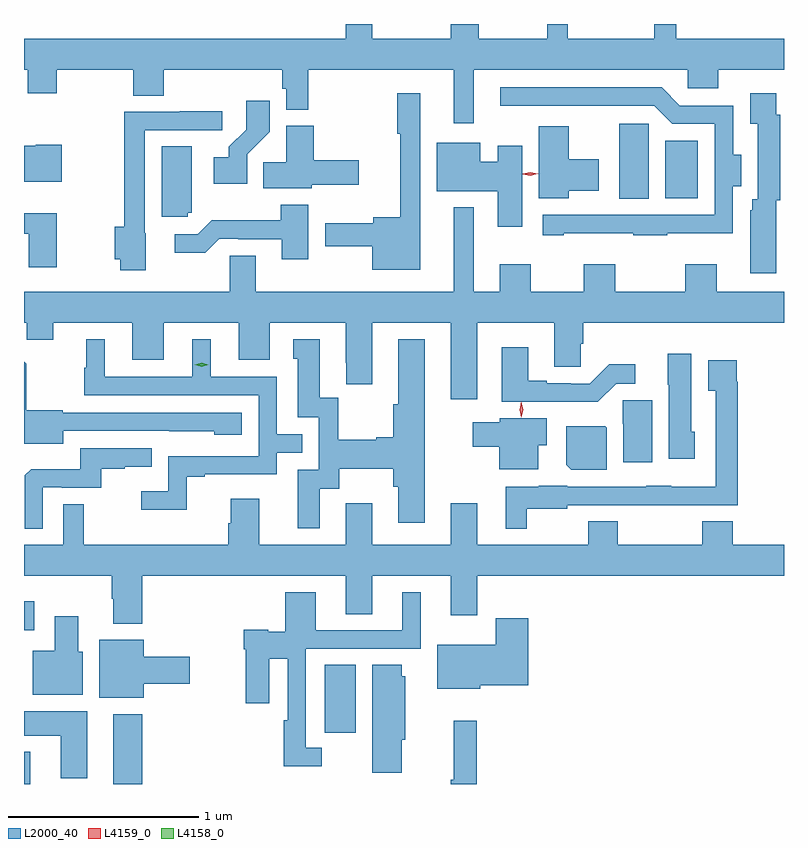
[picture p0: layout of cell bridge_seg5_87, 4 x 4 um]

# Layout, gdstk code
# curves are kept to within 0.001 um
import gdstk
lib = gdstk.Library(unit=1e-6, precision=1e-09)
def R(c, l, rs):  # rectangles x0, y0, x1, y1
    for r in rs: c.add(gdstk.rectangle(r[:2], r[2:], *l))
def P(c, l, *ps):  # polygons
    for p in ps: c.add(gdstk.Polygon(p, *l))
L2000_40 = (2000, 40)
L4158_0 = (4158, 0)
L4159_0 = (4159, 0)

bridge_seg5_87 = lib.new_cell('bridge_seg5_87')
R(bridge_seg5_87, L2000_40, [(184.84,906.281,184.873,906.451), (185.309,906.281,185.462,906.649), (186.422,906.552,186.586,906.908), (184.84,907.091,184.894,907.243), (187.973,909.361,188.128,909.756), (188.216,909.365,188.386,909.667)])
P(bridge_seg5_87, L2000_40, [(187.207,910.04),(188.334,910.04),(188.334,909.942),(188.493,909.942),(188.493,910.04),(188.84,910.04),(188.84,910.204),(188.273,910.204),(188.273,910.281),(188.156,910.281),(188.156,910.204),(187.703,910.204),(187.703,910.281),(187.593,910.281),(187.593,910.204),(187.233,910.204),(187.233,910.281),(187.085,910.281),(187.085,910.204),(186.673,910.204),(186.673,910.281),(186.533,910.281),(186.533,910.204),(184.84,910.204),(184.84,910.04),(184.861,910.04),(184.861,909.916),(185.013,909.916),(185.013,910.04),(185.416,910.04),(185.416,909.904),(185.576,909.904),(185.576,910.04),(186.199,910.04),(186.199,909.939),(186.219,909.939),(186.219,909.83),(186.335,909.83),(186.335,910.04),(187.103,910.04),(187.103,909.759),(187.207,909.759)],
  [(187.681,909.179),(188.047,909.179),(188.047,909.168),(188.225,909.168),(188.225,909.179),(188.571,909.179),(188.571,909.428),(188.614,909.428),(188.614,909.592),(188.572,909.592),(188.572,909.852),(188.292,909.852),(188.196,909.948),(187.347,909.948),(187.347,909.852),(188.157,909.852),(188.253,909.756),(188.475,909.756),(188.475,909.276),(187.569,909.276),(187.569,909.168),(187.681,909.168)],
  [(188.8,909.354),(188.819,909.354),(188.819,909.803),(188.799,909.803),(188.799,909.916),(188.663,909.916),(188.663,909.755),(188.703,909.755),(188.703,909.358),(188.672,909.358),(188.672,909.3),(188.663,909.3),(188.663,908.97),(188.8,908.97)],
  [(186.925,909.916),(186.804,909.916),(186.804,909.703),(186.821,909.703),(186.821,909.263),(186.678,909.263),(186.678,909.232),(186.426,909.232),(186.426,909.11),(186.674,909.11),(186.674,908.987),(186.925,908.987)],
  [(186.015,909.595),(186.134,909.714),(186.134,909.877),(186.009,909.877),(186.009,909.725),(185.918,909.635),(185.918,909.58),(185.838,909.58),(185.838,909.44),(186.015,909.44)],
  [(185.482,909.18),(185.475,909.18),(185.475,909.723),(185.884,909.723),(185.884,909.822),(185.659,909.822),(185.659,909.819),(185.367,909.819),(185.367,909.215),(185.317,909.215),(185.317,909.044),(185.346,909.044),(185.346,908.984),(185.482,908.984)],
  [(186.354,909.434),(186.601,909.434),(186.601,909.564),(186.366,909.564),(186.366,909.745),(186.221,909.745),(186.221,909.554),(186.1,909.554),(186.1,909.416),(186.354,909.416)],
  [(187.708,909.404),(187.864,909.404),(187.864,909.568),(187.708,909.568),(187.708,909.742),(187.55,909.742),(187.55,909.365),(187.708,909.365)],
  [(187.462,909.64),(187.334,909.64),(187.334,909.555),(187.24,909.555),(187.24,909.655),(187.013,909.655),(187.013,909.401),(187.334,909.401),(187.334,909.213),(187.462,909.213)],
  [(185.038,909.646),(184.902,909.646),(184.902,909.64),(184.84,909.64),(184.84,909.452),(185.038,909.452)],
  [(185.703,909.288),(185.722,909.288),(185.722,909.637),(185.564,909.637),(185.564,909.267),(185.703,909.267)],
  [(186.337,909.331),(186.19,909.331),(186.19,909.247),(185.827,909.247),(185.754,909.174),(185.634,909.174),(185.634,909.077),(185.795,909.077),(185.868,909.15),(185.968,909.15),(185.968,909.147),(186.197,909.147),(186.197,909.042),(186.337,909.042)],
  [(186.061,909.062),(185.922,909.062),(185.922,908.872),(184.84,908.872),(184.84,908.708),(184.855,908.708),(184.855,908.618),(184.993,908.618),(184.993,908.708),(185.411,908.708),(185.411,908.514),(185.575,908.514),(185.575,908.708),(185.969,908.708),(185.969,908.514),(186.133,908.514),(186.133,908.708),(186.533,908.708),(186.533,908.497),(186.536,908.497),(186.536,908.385),(186.673,908.385),(186.673,908.708),(187.085,908.708),(187.085,908.307),(187.225,908.307),(187.225,908.708),(187.631,908.708),(187.631,908.476),(187.77,908.476),(187.77,908.598),(187.784,908.598),(187.784,908.708),(188.84,908.708),(188.84,908.872),(188.485,908.872),(188.485,909.016),(188.321,909.016),(188.321,908.872),(187.951,908.872),(187.951,909.016),(187.787,909.016),(187.787,908.872),(187.507,908.872),(187.507,909.016),(187.343,909.016),(187.343,908.872),(187.207,908.872),(187.207,909.316),(187.103,909.316),(187.103,908.872),(186.061,908.872)],
  [(185.013,909.286),(184.84,909.286),(184.84,909.177),(184.865,909.177),(184.865,909),(185.013,909)],
  [(185.697,907.899),(185.791,907.899),(185.791,907.911),(186.171,907.911),(186.171,908.025),(186.305,908.025),(186.305,908.121),(186.171,908.121),(186.171,908.424),(185.824,908.424),(185.824,908.623),(185.726,908.623),(185.726,908.424),(185.266,908.424),(185.266,908.623),(185.168,908.623),(185.168,908.472),(185.157,908.472),(185.157,908.328),(186.075,908.328),(186.075,908.007),(185.598,908.007),(185.598,907.822),(185.457,907.822),(185.457,907.724),(185.697,907.724)],
  [(186.397,907.834),(186.499,907.834),(186.499,907.94),(186.784,907.94),(186.784,907.845),(186.809,907.845),(186.809,907.656),(186.949,907.656),(186.949,908.623),(186.809,908.623),(186.809,908.281),(186.784,908.281),(186.784,908.105),(186.695,908.105),(186.695,908.092),(186.495,908.092),(186.495,908.315),(186.397,908.315),(186.397,908.623),(186.257,908.623),(186.257,908.52),(186.281,908.52),(186.281,908.211),(186.39,908.211),(186.39,907.935),(186.281,907.935),(186.281,907.626),(186.397,907.626)],
  [(187.956,908.388),(188.056,908.388),(188.056,908.491),(187.921,908.491),(187.818,908.388),(187.718,908.388),(187.718,908.391),(187.591,908.391),(187.591,908.404),(187.495,908.404),(187.495,908.581),(187.355,908.581),(187.355,908.294),(187.861,908.294)],
  [(188.371,908.136),(188.353,908.136),(188.353,908.545),(188.228,908.545),(188.228,908.382),(188.234,908.382),(188.234,907.992),(188.371,907.992)],
  [(187.486,907.73),(187.698,907.73),(187.698,907.749),(188.115,907.749),(188.115,907.748),(188.347,907.748),(188.347,907.749),(188.597,907.749),(188.597,908.399),(188.59,908.399),(188.59,908.512),(188.441,908.512),(188.441,908.351),(188.481,908.351),(188.481,907.846),(188.247,907.846),(188.247,907.852),(188.115,907.852),(188.115,907.845),(187.698,907.845),(187.698,907.852),(187.548,907.852),(187.548,907.846),(187.376,907.846),(187.376,907.625),(187.486,907.625)],
  [(185.047,908.139),(185.841,908.138),(185.841,908.12),(185.986,908.12),(185.986,908.235),(185.043,908.235),(185.043,908.248),(184.851,908.248),(184.851,908.493),(184.84,908.504),(184.84,908.072),(185.047,908.072)],
  [(188.146,908.301),(187.99,908.301),(187.99,908.178),(187.994,908.178),(187.994,907.974),(188.146,907.974)],
  [(187.546,908.063),(187.591,908.063),(187.591,908.206),(187.344,908.206),(187.344,908.185),(187.203,908.185),(187.203,908.056),(187.34,908.056),(187.34,907.937),(187.546,907.937)],
  [(187.906,908.156),(187.898,908.164),(187.694,908.164),(187.694,907.96),(187.72,907.934),(187.906,907.934)],
  [(184.938,907.842),(185.038,907.842),(185.038,907.839),(185.246,907.839),(185.246,907.941),(185.369,907.941),(185.369,907.952),(185.513,907.952),(185.513,908.049),(185.136,908.049),(185.136,907.937),(184.877,907.937),(184.845,907.905),(184.845,907.625),(184.938,907.625)],
  [(185.462,907.376),(186.533,907.376),(186.533,907.174),(186.673,907.174),(186.673,907.376),(187.085,907.376),(187.085,907.17),(187.225,907.17),(187.225,907.376),(188.84,907.376),(188.84,907.54),(188.57,907.54),(188.57,907.664),(188.41,907.664),(188.41,907.54),(187.965,907.54),(187.965,907.664),(187.81,907.664),(187.81,907.54),(187.225,907.54),(187.225,907.759),(187.085,907.759),(187.085,907.54),(186.673,907.54),(186.673,907.759),(186.533,907.759),(186.533,907.54),(186.079,907.54),(186.079,907.783),(185.927,907.783),(185.927,907.653),(185.915,907.653),(185.915,907.54),(185.155,907.54),(185.155,907.754),(185.046,907.754),(185.046,907.54),(184.84,907.54),(184.84,907.376),(185.302,907.376),(185.302,907.256),(185.309,907.256),(185.309,907.124),(185.462,907.124)],
  [(186.406,906.471),(186.324,906.471),(186.324,906.993),(186.928,906.993),(186.928,907.291),(186.83,907.291),(186.83,907.089),(186.376,907.089),(186.376,907.291),(186.215,907.291),(186.215,907.083),(186.126,907.083),(186.126,907.093),(185.996,907.093),(185.996,906.989),(186.008,906.989),(186.008,906.705),(186.13,906.705),(186.13,906.941),(186.228,906.941),(186.228,906.617),(186.208,906.617),(186.208,906.374),(186.406,906.374)],
  [(185.149,906.978),(185.125,906.978),(185.125,907.165),(185.003,907.165),(185.003,906.982),(184.886,906.982),(184.886,906.752),(185.149,906.752)],
  [(187.242,906.8),(187.493,906.8),(187.493,907.153),(187.322,907.153),(187.322,907.015),(187.016,907.015),(187.016,906.782),(187.242,906.782)],
  [(185.47,906.809),(185.713,906.809),(185.713,906.951),(185.47,906.951),(185.47,907.039),(185.237,907.039),(185.237,906.734),(185.47,906.734)],
  [(186.829,906.513),(186.847,906.513),(186.847,906.849),(186.829,906.849),(186.829,906.908),(186.674,906.908),(186.674,906.339),(186.829,906.339)],
  [(185.173,906.664),(184.84,906.664),(184.84,906.536),(185.033,906.536),(185.033,906.312),(185.173,906.312)],
  [(187.223,906.613),(187.102,906.613),(187.102,906.304),(187.087,906.304),(187.087,906.281),(187.223,906.281)])
P(bridge_seg5_87, L4158_0, [(185.775,908.478),(185.739,908.487),(185.739,908.488),(185.739,908.488),(185.775,908.498),(185.811,908.488),(185.811,908.488),(185.811,908.487)])
P(bridge_seg5_87, L4159_0, [(187.505,909.482),(187.465,909.491),(187.465,909.491),(187.465,909.492),(187.505,909.502),(187.545,909.493),(187.546,909.493),(187.545,909.493)],
  [(187.458,908.21),(187.457,908.211),(187.448,908.252),(187.457,908.293),(187.458,908.293),(187.458,908.293),(187.467,908.252),(187.458,908.211)])

lib.write_gds('bridge_seg5_87.gds')
